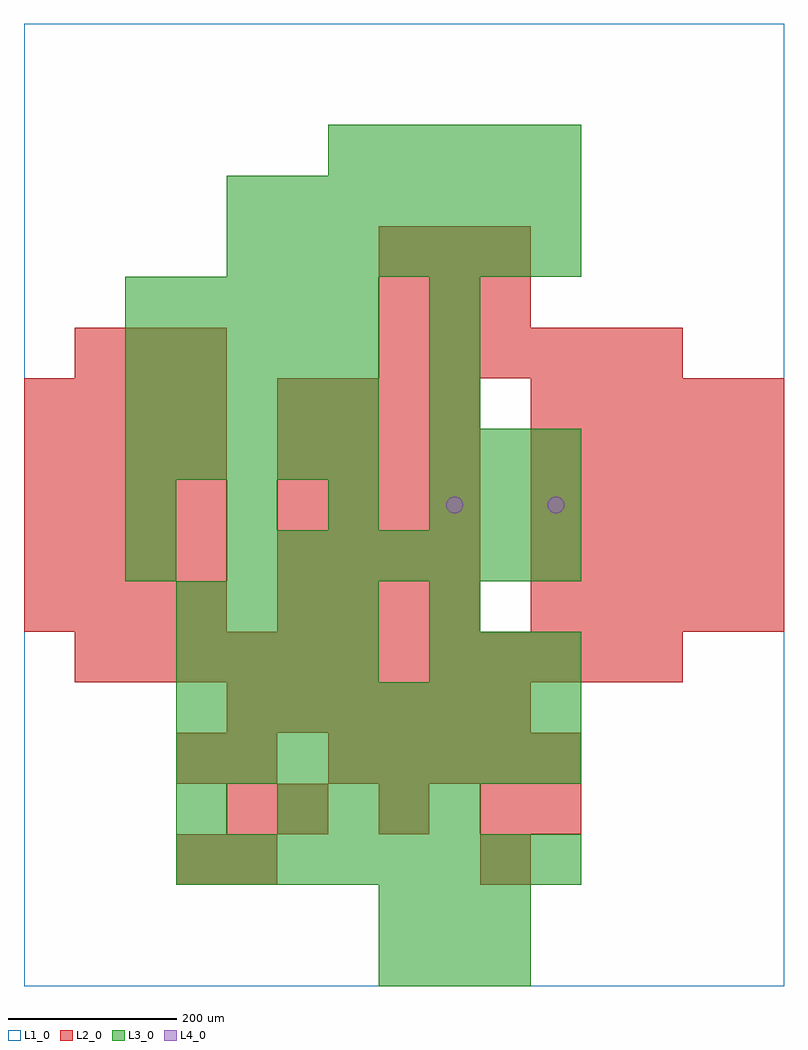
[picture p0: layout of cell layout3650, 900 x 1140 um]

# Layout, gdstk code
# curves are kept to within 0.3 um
import gdstk
lib = gdstk.Library(unit=1e-6, precision=1e-09)
def R(c, l, rs):  # rectangles x0, y0, x1, y1
    for r in rs: c.add(gdstk.rectangle(r[:2], r[2:], *l))
def A(c, l, x, y, w, h, nx, ny, dx, dy):  # array of equal rectangles
    R(c, l, [(x+i*dx, y+j*dy, x+i*dx+w, y+j*dy+h) for i in range(nx) for j in range(ny)])
def P(c, l, *ps):  # polygons
    for p in ps: c.add(gdstk.Polygon(p, *l))
L1_0 = (1, 0)
L2_0 = (2, 0)
L3_0 = (3, 0)
L4_0 = (4, 0)

layout3650 = lib.new_cell('layout3650')
R(layout3650, L1_0, [(0,0,900,1140)])
A(layout3650, L2_0, 240, 120, 60, 60, 1, 3, 0, 60)
A(layout3650, L2_0, 300, 180, 60, 60, 3, 1, 120, 0)
A(layout3650, L2_0, 360, 240, 60, 60, 5, 1, 60, 0)
A(layout3650, L2_0, 240, 300, 60, 60, 6, 1, 60, 0)
A(layout3650, L2_0, 60, 360, 60, 60, 12, 1, 60, 0)
A(layout3650, L2_0, 0, 420, 60, 60, 4, 5, 60, 60)
A(layout3650, L2_0, 300, 420, 60, 60, 4, 5, 60, 60)
A(layout3650, L2_0, 600, 420, 60, 60, 5, 5, 60, 60)
A(layout3650, L2_0, 60, 720, 60, 60, 3, 1, 60, 0)
A(layout3650, L2_0, 420, 720, 60, 60, 6, 1, 60, 0)
A(layout3650, L2_0, 420, 780, 60, 60, 3, 2, 60, 60)
R(layout3650, L2_0, [(180,120,240,180), (540,120,600,180), (600,180,660,240), (180,240,240,300)])
A(layout3650, L3_0, 420, 0, 60, 60, 3, 2, 60, 60)
A(layout3650, L3_0, 180, 120, 60, 60, 8, 2, 60, 120)
A(layout3650, L3_0, 300, 180, 60, 60, 4, 1, 60, 0)
A(layout3650, L3_0, 180, 300, 60, 60, 8, 1, 60, 0)
A(layout3650, L3_0, 180, 360, 60, 60, 4, 2, 60, 60)
A(layout3650, L3_0, 480, 360, 60, 60, 3, 2, 60, 240)
A(layout3650, L3_0, 240, 480, 60, 60, 7, 2, 60, 360)
A(layout3650, L3_0, 120, 540, 60, 60, 4, 1, 120, 0)
A(layout3650, L3_0, 120, 600, 60, 60, 5, 4, 60, 60)
A(layout3650, L3_0, 480, 660, 60, 60, 1, 3, 0, 60)
A(layout3650, L3_0, 240, 900, 60, 60, 7, 1, 60, 0)
A(layout3650, L3_0, 360, 960, 60, 60, 5, 1, 60, 0)
R(layout3650, L3_0, [(180,180,240,240), (480,420,540,480), (120,480,180,540), (540,540,600,600), (600,540,660,600)])
P(layout3650, L4_0, [(520,570),(519.239,573.827),(517.071,577.071),(513.827,579.239),(510,580),(506.173,579.239),(502.929,577.071),(500.761,573.827),(500,570),(500.761,566.173),(502.929,562.929),(506.173,560.761),(510,560),(513.827,560.761),(517.071,562.929),(519.239,566.173)],
  [(640,570),(639.239,573.827),(637.071,577.071),(633.827,579.239),(630,580),(626.173,579.239),(622.929,577.071),(620.761,573.827),(620,570),(620.761,566.173),(622.929,562.929),(626.173,560.761),(630,560),(633.827,560.761),(637.071,562.929),(639.239,566.173)])

lib.write_gds('layout3650.gds')
